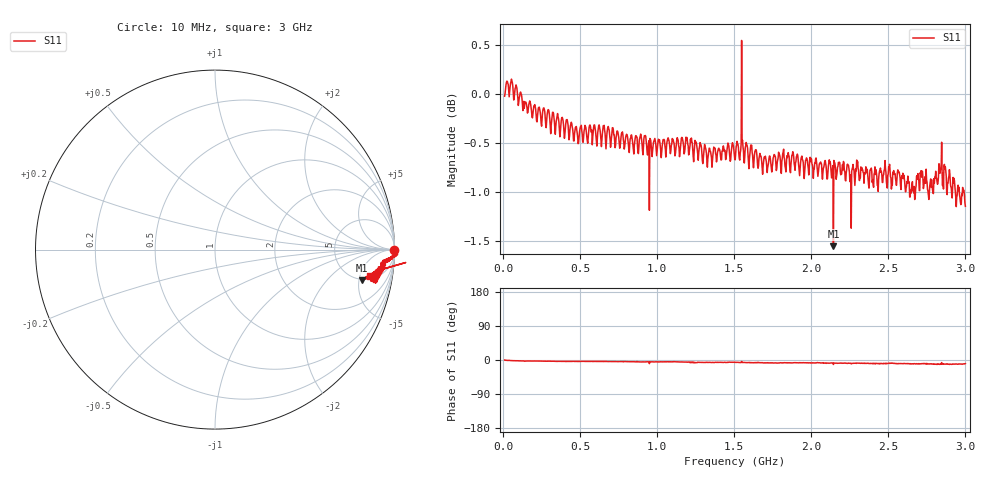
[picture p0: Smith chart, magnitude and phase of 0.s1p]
# HZ S RI R 50
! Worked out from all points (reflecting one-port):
!   1010 points, 10 MHz to 3 GHz, reference 50 ohm
!   lowest |S11| = -1.6 dB at 2.144 GHz (marker M1), VSWR 11.19, Z = 241 - j274 ohm
!   phase of S11 starts at -0 deg and turns -9 deg over the sweep
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1e7  0.9973 -0.00249
4.852329e7  1.012 -0.0267
1.374232e8  0.9817 -0.053
3.863429e8  0.9697 -0.0608
7.597225e8  0.9375 -0.0659
9.641923e8  0.9311 -0.078
1.133102e9  0.9447 -0.0811
1.245709e9  0.941 -0.1051
1.506482e9  0.9203 -0.0968
1.562785e9  0.9176 -0.1029
1.565748e9  0.9159 -0.1053
1.580565e9  0.9354 -0.1141
1.699098e9  0.9197 -0.1185
1.879861e9  0.9264 -0.1209
2.042844e9  0.9005 -0.113
2.143598e9  0.8181 -0.1716
2.196938e9  0.9009 -0.1282
2.253241e9  0.8918 -0.1335
2.451784e9  0.8992 -0.1523
2.514014e9  0.8967 -0.1364
2.62662e9  0.8959 -0.1465
2.66218e9  0.877 -0.1636
2.721447e9  0.9 -0.1541
2.77775e9  0.8816 -0.1607
2.819237e9  0.8843 -0.1627
2.854797e9  0.8944 -0.1737
2.899247e9  0.8922 -0.179
3e9  0.8637 -0.1466
